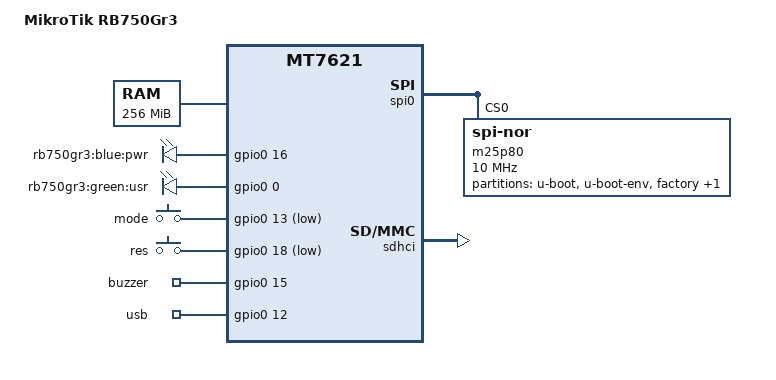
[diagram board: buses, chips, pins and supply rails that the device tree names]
/dts-v1/;

#include "mt7621.dtsi"

#include <dt-bindings/input/input.h>
#include <dt-bindings/gpio/gpio.h>

/ {
	compatible = "mikrotik,rb750gr3", "mediatek,mt7621-soc";
	model = "MikroTik RB750Gr3";

	memory@0 {
		device_type = "memory";
		reg = <0x0 0x10000000>;
	};

	chosen {
		bootargs = "console=ttyS0,57600";
	};

	gpio-leds {
		compatible = "gpio-leds";

		pwr {
			label = "rb750gr3:blue:pwr";
			gpios = <&gpio0 16 GPIO_ACTIVE_HIGH>;
		};

		usr {
			label = "rb750gr3:green:usr";
			gpios = <&gpio0 0 GPIO_ACTIVE_HIGH>;
		};
	};

	gpio-keys-polled {
		compatible = "gpio-keys-polled";
		#address-cells = <1>;
		#size-cells = <0>;
		poll-interval = <20>;

		mode {
			label = "mode";
			gpios = <&gpio0 13 GPIO_ACTIVE_LOW>;
			linux,code = <KEY_RFKILL>;
		};

		res {
			label = "res";
			gpios = <&gpio0 18 GPIO_ACTIVE_LOW>;
			linux,code = <KEY_RESTART>;
		};
	};

	gpio_export {
		compatible = "gpio-export";
		#size-cells = <0>;

		buzzer {
			gpio-export,name = "buzzer";
			gpio-export,output = <0>;
			gpios = <&gpio0 15 GPIO_ACTIVE_HIGH>;
		};

		usb {
			gpio-export,name = "usb";
			gpio-export,output = <1>;
			gpios = <&gpio0 12 GPIO_ACTIVE_HIGH>;
		};
	};
};

&spi0 {
	status = "okay";

	m25p80@0 {
		#address-cells = <1>;
		#size-cells = <1>;
		compatible = "jedec,spi-nor";
		reg = <0>;
		spi-max-frequency = <10000000>;
		m25p,chunked-io = <32>;

		partition@0 {
			label = "u-boot";
			reg = <0x0 0x30000>;
			read-only;
		};

		partition@30000 {
			label = "u-boot-env";
			reg = <0x30000 0x10000>;
			read-only;
		};

		factory: partition@40000 {
			label = "factory";
			reg = <0x40000 0x10000>;
			read-only;
		};

		partition@50000 {
			label = "firmware";
			reg = <0x50000 0xfb0000>;
		};

	};
};

&ethernet {
	mtd-mac-address = <&factory 0xe000>;
	mtd-mac-address-increment = <1>;
};

&pinctrl {
	state_default: pinctrl0 {
		gpio {
			ralink,group = "i2c", "uart2", "uart3", "pcie", "rgmii2", "jtag";
			ralink,function = "gpio";
		};
	};
};

&sdhci {
	status = "okay";
};
